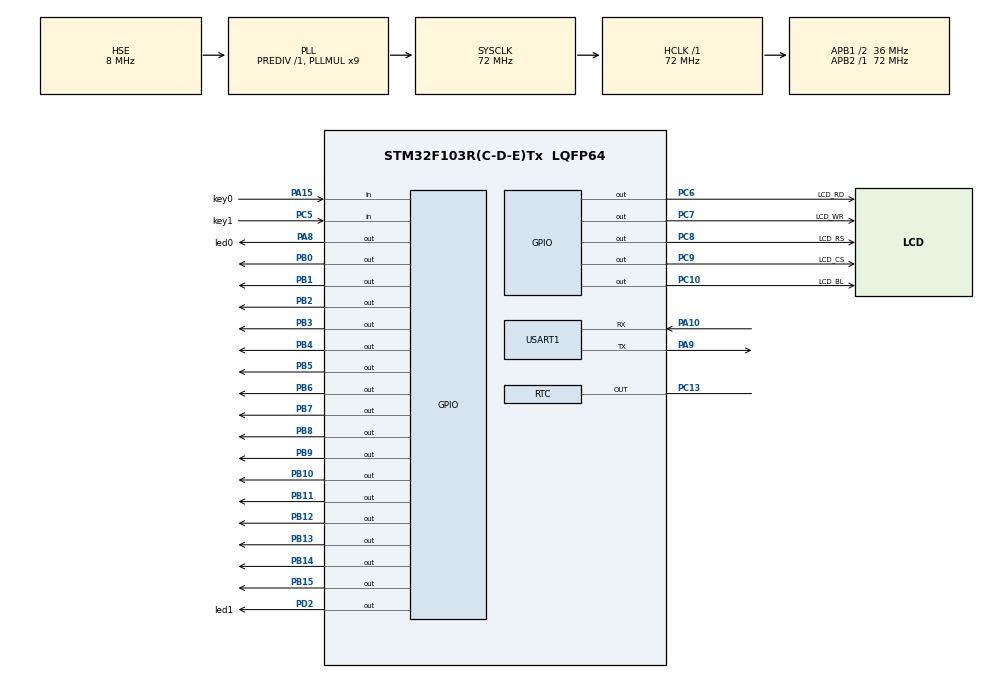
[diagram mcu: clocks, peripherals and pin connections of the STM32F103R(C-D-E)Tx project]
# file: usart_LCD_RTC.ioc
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Dma.Request0=USART1_RX
Dma.Request1=USART1_TX
Dma.USART1_RX.0.Direction=DMA_PERIPH_TO_MEMORY
Dma.USART1_RX.0.Instance=DMA1_Channel5
Dma.USART1_RX.0.MemDataAlignment=DMA_MDATAALIGN_BYTE
Dma.USART1_RX.0.MemInc=DMA_MINC_ENABLE
Dma.USART1_RX.0.Mode=DMA_NORMAL
Dma.USART1_RX.0.PeriphDataAlignment=DMA_PDATAALIGN_BYTE
Dma.USART1_RX.0.PeriphInc=DMA_PINC_DISABLE
Dma.USART1_RX.0.Priority=DMA_PRIORITY_LOW
Dma.USART1_TX.1.Direction=DMA_MEMORY_TO_PERIPH
Dma.USART1_TX.1.Instance=DMA1_Channel4
Dma.USART1_TX.1.MemDataAlignment=DMA_MDATAALIGN_BYTE
Dma.USART1_TX.1.MemInc=DMA_MINC_ENABLE
Dma.USART1_TX.1.Mode=DMA_NORMAL
Dma.USART1_TX.1.PeriphDataAlignment=DMA_PDATAALIGN_BYTE
Dma.USART1_TX.1.PeriphInc=DMA_PINC_DISABLE
Dma.USART1_TX.1.Priority=DMA_PRIORITY_LOW
Mcu.Family=STM32F1
Mcu.Name=STM32F103R(C-D-E)Tx
Mcu.Package=LQFP64
NVIC.DMA1_Channel4_IRQn=true\:0\:0\:false\:false\:true\:false\:true\:true
NVIC.DMA1_Channel5_IRQn=true\:0\:0\:false\:false\:true\:false\:true\:true
NVIC.PriorityGroup=NVIC_PRIORITYGROUP_4
NVIC.RTC_Alarm_IRQn=true\:0\:0\:false\:false\:true\:true\:true\:true
NVIC.USART1_IRQn=true\:1\:0\:true\:false\:true\:true\:true\:true
PA10.Mode=Asynchronous
PA10.Signal=USART1_RX
PA13.Mode=Serial_Wire
PA13.Signal=SYS_JTMS-SWDIO
PA14.Mode=Serial_Wire
PA14.Signal=SYS_JTCK-SWCLK
PA15.GPIO_Label=key0
PA15.GPIO_PuPd=GPIO_NOPULL
PA15.Signal=GPIO_Input
PA8.GPIO_Label=led0
PA8.GPIO_PuPd=GPIO_PULLUP
PA8.GPIO_Speed=GPIO_SPEED_FREQ_MEDIUM
PA8.Signal=GPIO_Output
PA9.Mode=Asynchronous
PA9.Signal=USART1_TX
PB0.Signal=GPIO_Output
PB1.GPIO_PuPd=GPIO_PULLUP
PB1.GPIO_Speed=GPIO_SPEED_FREQ_HIGH
PB1.Signal=GPIO_Output
PB10.GPIO_PuPd=GPIO_PULLUP
PB10.GPIO_Speed=GPIO_SPEED_FREQ_HIGH
PB10.Signal=GPIO_Output
PB11.GPIO_PuPd=GPIO_PULLUP
PB11.GPIO_Speed=GPIO_SPEED_FREQ_HIGH
PB11.Signal=GPIO_Output
PB12.GPIO_PuPd=GPIO_PULLUP
PB12.GPIO_Speed=GPIO_SPEED_FREQ_HIGH
PB12.Signal=GPIO_Output
PB13.GPIO_PuPd=GPIO_PULLUP
PB13.GPIO_Speed=GPIO_SPEED_FREQ_HIGH
PB13.Signal=GPIO_Output
PB14.GPIO_PuPd=GPIO_PULLUP
PB14.GPIO_Speed=GPIO_SPEED_FREQ_HIGH
PB14.Signal=GPIO_Output
PB15.GPIO_PuPd=GPIO_PULLUP
PB15.GPIO_Speed=GPIO_SPEED_FREQ_HIGH
PB15.Signal=GPIO_Output
PB2.GPIO_PuPd=GPIO_PULLUP
PB2.GPIO_Speed=GPIO_SPEED_FREQ_HIGH
PB2.Signal=GPIO_Output
PB3.GPIO_PuPd=GPIO_PULLUP
PB3.GPIO_Speed=GPIO_SPEED_FREQ_HIGH
PB3.Signal=GPIO_Output
PB4.GPIO_PuPd=GPIO_PULLUP
PB4.GPIO_Speed=GPIO_SPEED_FREQ_HIGH
PB4.Signal=GPIO_Output
PB5.GPIO_PuPd=GPIO_PULLUP
PB5.GPIO_Speed=GPIO_SPEED_FREQ_HIGH
PB5.Signal=GPIO_Output
PB6.GPIO_PuPd=GPIO_PULLUP
PB6.GPIO_Speed=GPIO_SPEED_FREQ_HIGH
PB6.Signal=GPIO_Output
PB7.GPIO_PuPd=GPIO_PULLUP
PB7.GPIO_Speed=GPIO_SPEED_FREQ_HIGH
PB7.Signal=GPIO_Output
PB8.GPIO_PuPd=GPIO_PULLDOWN
PB8.GPIO_Speed=GPIO_SPEED_FREQ_HIGH
PB8.Signal=GPIO_Output
PB9.GPIO_PuPd=GPIO_PULLUP
PB9.GPIO_Speed=GPIO_SPEED_FREQ_HIGH
PB9.Signal=GPIO_Output
PC10.GPIO_Label=LCD_BL
PC10.GPIO_PuPd=GPIO_PULLUP
PC10.GPIO_Speed=GPIO_SPEED_FREQ_HIGH
PC10.Signal=GPIO_Output
PC13-TAMPER-RTC.Mode=RTC OUT
PC13-TAMPER-RTC.Signal=RTC_OUT
PC14-OSC32_IN.Mode=LSE-External-Oscillator
PC14-OSC32_IN.Signal=RCC_OSC32_IN
PC15-OSC32_OUT.Mode=LSE-External-Oscillator
PC15-OSC32_OUT.Signal=RCC_OSC32_OUT
PC5.GPIO_Label=key1
PC5.GPIO_PuPd=GPIO_NOPULL
PC5.Signal=GPIO_Input
PC6.GPIO_Label=LCD_RD
PC6.GPIO_PuPd=GPIO_PULLUP
PC6.GPIO_Speed=GPIO_SPEED_FREQ_HIGH
PC6.Signal=GPIO_Output
PC7.GPIO_Label=LCD_WR
PC7.GPIO_PuPd=GPIO_PULLUP
PC7.GPIO_Speed=GPIO_SPEED_FREQ_HIGH
PC7.Signal=GPIO_Output
PC8.GPIO_Label=LCD_RS
PC8.GPIO_PuPd=GPIO_PULLUP
PC8.GPIO_Speed=GPIO_SPEED_FREQ_HIGH
PC8.Signal=GPIO_Output
PC9.GPIO_Label=LCD_CS
PC9.GPIO_PuPd=GPIO_PULLUP
PC9.GPIO_Speed=GPIO_SPEED_FREQ_HIGH
PC9.Signal=GPIO_Output
PD0-OSC_IN.Mode=HSE-External-Oscillator
PD0-OSC_IN.Signal=RCC_OSC_IN
PD1-OSC_OUT.Mode=HSE-External-Oscillator
PD1-OSC_OUT.Signal=RCC_OSC_OUT
PD2.GPIO_Label=led1
PD2.GPIO_PuPd=GPIO_PULLUP
PD2.GPIO_Speed=GPIO_SPEED_FREQ_MEDIUM
PD2.Signal=GPIO_Output
ProjectManager.HeapSize=0x200
ProjectManager.StackSize=0x400
ProjectManager.TargetToolchain=MDK-ARM V5.32
RCC.AHBFreq_Value=72000000
RCC.APB1CLKDivider=RCC_HCLK_DIV2
RCC.APB1Freq_Value=36000000
RCC.APB1TimFreq_Value=72000000
RCC.APB2Freq_Value=72000000
RCC.APB2TimFreq_Value=72000000
RCC.HCLKFreq_Value=72000000
RCC.PLLMUL=RCC_PLL_MUL9
RCC.PLLSourceVirtual=RCC_PLLSOURCE_HSE
RCC.RTCClockSelection=RCC_RTCCLKSOURCE_LSE
RCC.SYSCLKFreq_VALUE=72000000
RCC.SYSCLKSource=RCC_SYSCLKSOURCE_PLLCLK
RCC.USBFreq_Value=72000000
RTC.Date=29
RTC.Hours=23
RTC.Hours_A-RTC\ OUT=23
RTC.Minutes=23
RTC.Minutes_A-RTC\ OUT=35
RTC.Month=RTC_MONTH_JANUARY
RTC.WeekDay=RTC_WEEKDAY_SUNDAY
RTC.Year=23
USART1.VirtualMode=VM_ASYNC
VP_RTC_VS_RTC_Activate.Mode=RTC_Enabled
VP_RTC_VS_RTC_Calendar.Mode=RTC_Calendar
board=custom

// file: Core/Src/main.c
/* USER CODE BEGIN Header */
/**
  ******************************************************************************
  * @file           : main.c
  * @brief          : Main program body
  ******************************************************************************
  * @attention
  *
  * Copyright (c) 2022 STMicroelectronics.
  * All rights reserved.
  *
  * This software is licensed under terms that can be found in the LICENSE file
  * in the root directory of this software component.
  * If no LICENSE file comes with this software, it is provided AS-IS.
  *
  ******************************************************************************
  */
/* USER CODE END Header */
#include "main.h"
#include "dma.h"
#include "rtc.h"
#include "usart.h"
#include "gpio.h"

/* USER CODE BEGIN Includes */
#include "key_led.h"
#include "lcd.h"
#include "stdio.h"
/* USER CODE END Includes */

/* USER CODE BEGIN PV */
uint8_t Recceive_buffer[8]="";//定义接收数组,6为字符大小上限
uint8_t lcd_id[12];						//存放LCD ID字符串
char Output_buffer[16];						//存放输出LCD ID字符串
char Date_buffer[24]="";//定义时期数组,24为字符大小上限
char Time_buffer[24]="";//定义时间数组,24为字符大小上限
/* USER CODE END PV */

void SystemClock_Config(void);

/* USER CODE BEGIN 0 */
//串口接收回调函数
// void HAL_UART_RxCpltCallback(UART_HandleTypeDef *huart){
//   HAL_UART_Transmit_DMA(&huart1,Recceive_buffer,8);
//   HAL_UART_Receive_DMA(&huart1,Recceive_buffer,8);
// }

/* USER CODE END 0 */

int main(void)
{

  /* MCU Configuration--------------------------------------------------------*/

  /* Reset of all peripherals, Initializes the Flash interface and the Systick. */
  HAL_Init();

  /* Configure the system clock */
  SystemClock_Config();

  /* Initialize all configured peripherals */
  MX_GPIO_Init();
  MX_DMA_Init();
  MX_USART1_UART_Init();
  MX_RTC_Init();
  /* USER CODE BEGIN 2 */

  __HAL_UART_ENABLE_IT(&huart1,UART_IT_IDLE);//串口空闲中断启用

	lcd_init();
  lcd_display_dir(1);

	lcd_clear(BLACK);
	g_back_color=BLACK;

	lcd_draw_rectangle(20,30,220,150,WHITE);
	g_back_color=BLACK;
	lcd_show_string(30,70,200,16,16,"RTC and ALARM",WHITE);

  RTC_TimeTypeDef sTime;
	RTC_DateTypeDef sDate;
  /* USER CODE END 2 */

  /* Infinite loop */
  while (1)
  {

    /* USER CODE BEGIN 3 */

    //key2led(2000);

    if( HAL_RTC_GetTime(&hrtc,&sTime,RTC_FORMAT_BIN ) == HAL_OK ){
      HAL_RTC_GetDate(&hrtc,&sDate,RTC_FORMAT_BIN);
      sprintf((char *)Date_buffer,"Date:%4d-%2d-%2d",sDate.Year+2000,sDate.Month,sDate.Date);//将LCD ID打印到lcd_id数组。
      sprintf((char *)Time_buffer,"Time:%4d-%2d-%2d",sTime.Hours,sTime.Minutes,sTime.Seconds);//将LCD ID打印到lcd_id数组。

    }

    sprintf((char *)Output_buffer,"receive:%s",Recceive_buffer);//将LCD ID打印到lcd_id数组。

 		lcd_show_string(30,110,200,16,16,Output_buffer,RED);		//显示串口输入
		lcd_show_string(30,130,200,12,12,Date_buffer,BLUE);
    lcd_show_string(30,150,200,12,12,Time_buffer,BLUE);

		HAL_Delay(500);
  }
  /* USER CODE END 3 */
}

void SystemClock_Config(void)
{
  RCC_OscInitTypeDef RCC_OscInitStruct = {0};
  RCC_ClkInitTypeDef RCC_ClkInitStruct = {0};
  RCC_PeriphCLKInitTypeDef PeriphClkInit = {0};

  /** Initializes the RCC Oscillators according to the specified parameters
  * in the RCC_OscInitTypeDef structure.
  */
  RCC_OscInitStruct.OscillatorType = RCC_OSCILLATORTYPE_HSE|RCC_OSCILLATORTYPE_LSE;
  RCC_OscInitStruct.HSEState = RCC_HSE_ON;
  RCC_OscInitStruct.HSEPredivValue = RCC_HSE_PREDIV_DIV1;
  RCC_OscInitStruct.LSEState = RCC_LSE_ON;
  RCC_OscInitStruct.HSIState = RCC_HSI_ON;
  RCC_OscInitStruct.PLL.PLLState = RCC_PLL_ON;
  RCC_OscInitStruct.PLL.PLLSource = RCC_PLLSOURCE_HSE;
  RCC_OscInitStruct.PLL.PLLMUL = RCC_PLL_MUL9;
  if (HAL_RCC_OscConfig(&RCC_OscInitStruct) != HAL_OK)
  {
    Error_Handler();
  }

  /** Initializes the CPU, AHB and APB buses clocks
  */
  RCC_ClkInitStruct.ClockType = RCC_CLOCKTYPE_HCLK|RCC_CLOCKTYPE_SYSCLK
                              |RCC_CLOCKTYPE_PCLK1|RCC_CLOCKTYPE_PCLK2;
  RCC_ClkInitStruct.SYSCLKSource = RCC_SYSCLKSOURCE_PLLCLK;
  RCC_ClkInitStruct.AHBCLKDivider = RCC_SYSCLK_DIV1;
  RCC_ClkInitStruct.APB1CLKDivider = RCC_HCLK_DIV2;
  RCC_ClkInitStruct.APB2CLKDivider = RCC_HCLK_DIV1;

  if (HAL_RCC_ClockConfig(&RCC_ClkInitStruct, FLASH_LATENCY_2) != HAL_OK)
  {
    Error_Handler();
  }
  PeriphClkInit.PeriphClockSelection = RCC_PERIPHCLK_RTC;
  PeriphClkInit.RTCClockSelection = RCC_RTCCLKSOURCE_LSE;
  if (HAL_RCCEx_PeriphCLKConfig(&PeriphClkInit) != HAL_OK)
  {
    Error_Handler();
  }
}

void Error_Handler(void)
{
  __disable_irq();
  while (1)
  {
  }
}
